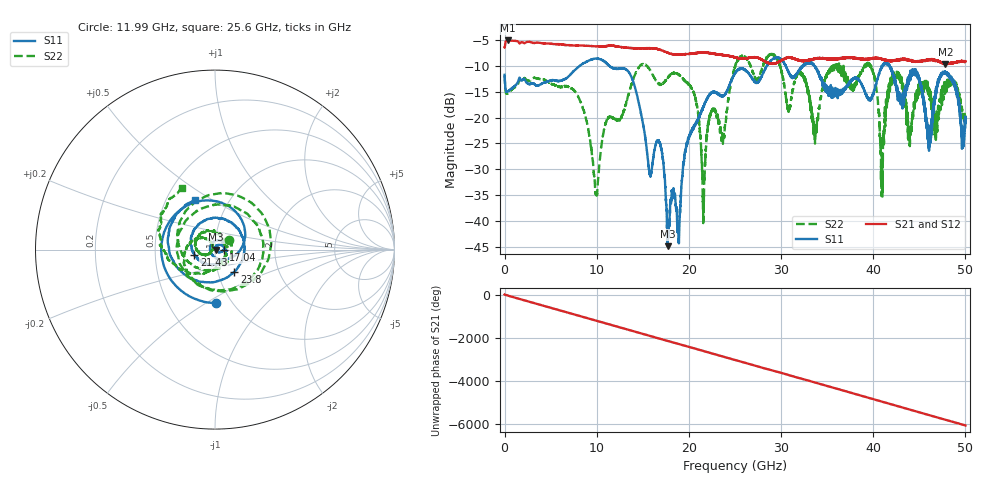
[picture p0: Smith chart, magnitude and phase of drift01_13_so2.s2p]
!Created with skrf (http://scikit-rf.org).
# Hz S RI R 50.0
!freq ReS11 ImS11 ReS21 ImS21 ReS12 ImS12 ReS22 ImS22
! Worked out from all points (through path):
!   10001 points, 300 kHz to 50 GHz, reference 50 ohm
!   highest |S21| = -5.05 dB at 315.3 MHz (marker M1); lowest = -9.7 dB at 47.84 GHz (marker M2)
!   group delay of S21, straight-line fit = 336 ps
!   lowest |S11| = -44.9 dB at 17.69 GHz (marker M3), VSWR 1.01, Z = 50.6 - j0.103 ohm
!   |S11| at or under -10 dB: start of sweep to 8.135 GHz; 11.39 GHz to 28.44 GHz (17.05 GHz wide, 85.6 % of centre); 41.8 GHz to end of sweep (the widest 3 of 11)
!   |S22| runs from -40.5 to -7.6 dB; largest |S21 - S12| = 0.012
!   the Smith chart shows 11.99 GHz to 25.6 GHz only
!   S11 on the Smith chart (normalised r, x): 11.99 GHz: 0.84, -0.55; 17.04 GHz: 1.10, -0.01; 21.43 GHz: 0.79, -0.05; 23.8 GHz: 1.20, -0.31; 25.6 GHz: 0.70, +0.42
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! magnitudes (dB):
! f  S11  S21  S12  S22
! 300 kHz  -11.7  -6.4  -6.5  -11.8
! 315.3 MHz  -15.0  -5.1  -5.1  -15.4
! 8.335 GHz  -9.7  -6.0  -6.0  -17.5
! 9.935 GHz  -8.6  -6.2  -6.2  -34.5
! 11.99 GHz  -10.5  -6.1  -6.1  -20.4
! 15.77 GHz  -31.0  -6.5  -6.6  -10.8
! 16.67 GHz  -24.5  -6.8  -6.8  -13.4
! 17.04 GHz  -26.2  -7.0  -6.9  -13.6
! 17.69 GHz  -44.9  -7.4  -7.4  -12.3
! 20.5 GHz  -22.1  -7.6  -7.6  -15.1
! 21.43 GHz  -18.5  -7.4  -7.4  -30.5
! 22.47 GHz  -15.2  -7.6  -7.6  -18.9
! 23.8 GHz  -15.7  -7.9  -7.9  -23.5
! 25 GHz  -11.4  -8.3  -8.4  -10.3
! 25.6 GHz  -10.5  -8.6  -8.5  -8.2
! 33.34 GHz  -9.5  -8.7  -8.7  -19.3
! 39.5 GHz  -16.6  -8.7  -8.6  -9.9
! 40.95 GHz  -10.1  -8.7  -8.7  -28.9
! 41.67 GHz  -9.8  -8.9  -9.0  -15.4
! 46.08 GHz  -25.5  -8.8  -8.8  -14.7
! 47.84 GHz  -11.2  -9.7  -9.5  -13.6
! 50 GHz  -21.0  -9.1  -9.2  -20.0
